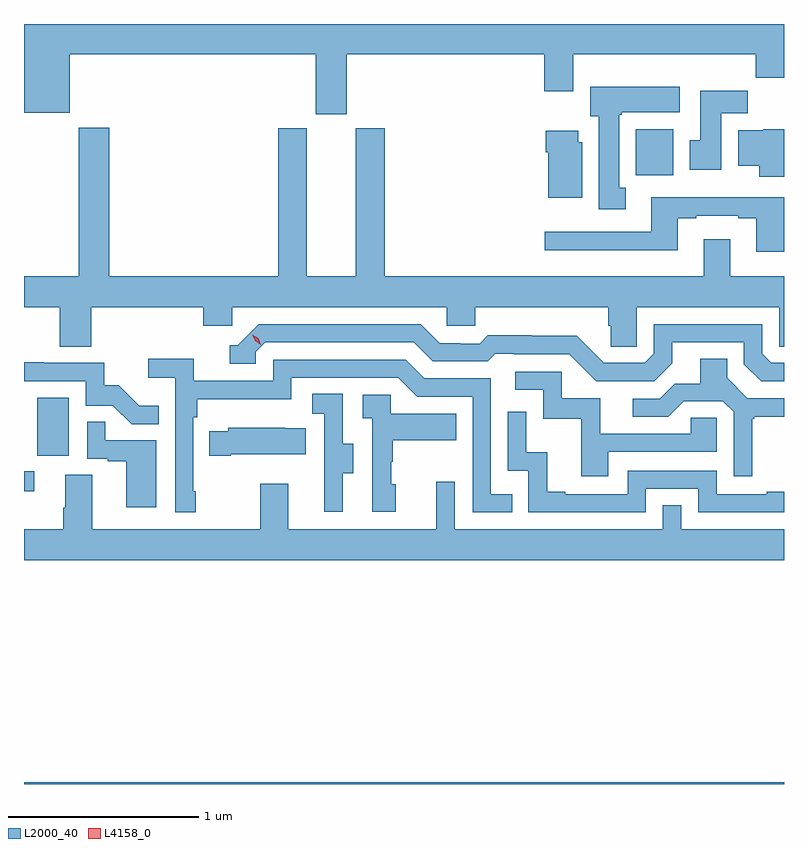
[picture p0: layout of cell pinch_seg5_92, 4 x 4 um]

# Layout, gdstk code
import gdstk
lib = gdstk.Library(unit=1e-6, precision=1e-09)
def R(c, l, rs):  # rectangles x0, y0, x1, y1
    for r in rs: c.add(gdstk.rectangle(r[:2], r[2:], *l))
def P(c, l, *ps):  # polygons
    for p in ps: c.add(gdstk.Polygon(p, *l))
L2000_40 = (2000, 40)
L4158_0 = (4158, 0)

pinch_seg5_92 = lib.new_cell('pinch_seg5_92')
R(pinch_seg5_92, L2000_40, [(1040.817,895.543,1044.817,895.552), (1040.817,897.084,1040.872,897.189), (1040.888,897.27,1041.052,897.577), (1044.038,898.748,1044.235,898.99)])
P(pinch_seg5_92, L2000_40, [(1042.516,899.384),(1043.555,899.384),(1043.555,899.19),(1043.707,899.19),(1043.707,899.384),(1044.667,899.384),(1044.667,899.26),(1044.817,899.26),(1044.817,899.543),(1040.817,899.543),(1040.817,899.075),(1041.058,899.075),(1041.058,899.384),(1042.352,899.384),(1042.352,899.067),(1042.516,899.067)],
  [(1043.983,898.682),(1043.95,898.682),(1043.95,899.065),(1043.964,899.065),(1043.964,899.078),(1044.268,899.078),(1044.268,899.212),(1043.798,899.212),(1043.798,899.058),(1043.843,899.058),(1043.843,898.569),(1043.983,898.569)],
  [(1044.487,899.072),(1044.626,899.072),(1044.626,899.191),(1044.377,899.191),(1044.377,898.932),(1044.32,898.932),(1044.32,898.776),(1044.487,898.776)],
  [(1044.817,898.99),(1044.708,898.99),(1044.708,898.984),(1044.575,898.984),(1044.575,898.796),(1044.686,898.796),(1044.686,898.739),(1044.817,898.739)],
  [(1043.755,898.92),(1043.734,898.92),(1043.734,898.981),(1043.564,898.981),(1043.564,898.868),(1043.576,898.868),(1043.576,898.628),(1043.755,898.628)],
  [(1044.817,898.63),(1044.119,898.63),(1044.119,898.449),(1043.559,898.449),(1043.559,898.352),(1044.259,898.352),(1044.259,898.521),(1044.355,898.521),(1044.355,898.533),(1044.575,898.533),(1044.575,898.521),(1044.671,898.521),(1044.671,898.344),(1044.817,898.344)],
  [(1044.535,898.411),(1044.395,898.411),(1044.395,898.216),(1042.715,898.216),(1042.715,898.995),(1042.562,898.995),(1042.562,898.216),(1042.306,898.216),(1042.306,898.995),(1042.154,898.995),(1042.154,898.216),(1041.266,898.216),(1041.266,898.996),(1041.106,898.996),(1041.106,898.216),(1040.817,898.216),(1040.817,898.052),(1041.005,898.052),(1041.005,897.844),(1041.17,897.844),(1041.17,898.052),(1041.761,898.052),(1041.761,897.954),(1041.912,897.954),(1041.912,898.052),(1043.043,898.052),(1043.043,897.954),(1043.193,897.954),(1043.193,898.052),(1043.891,898.052),(1043.891,897.954),(1043.905,897.954),(1043.905,897.844),(1044.042,897.844),(1044.042,898.052),(1044.792,898.052),(1044.792,897.844),(1044.817,897.844),(1044.817,898.216),(1044.535,898.216)],
  [(1044.229,897.757),(1044.229,897.867),(1044.606,897.867),(1044.606,897.753),(1044.696,897.663),(1044.817,897.663),(1044.817,897.759),(1044.75,897.759),(1044.702,897.807),(1044.702,897.963),(1044.132,897.963),(1044.132,897.807),(1044.084,897.759),(1043.868,897.759),(1043.726,897.901),(1043.49,897.901),(1043.49,897.904),(1043.257,897.904),(1043.215,897.861),(1043.112,897.861),(1043.112,897.864),(1043.005,897.864),(1042.906,897.963),(1042.053,897.963),(1041.942,897.852),(1041.899,897.852),(1041.899,897.756),(1042.038,897.756),(1042.038,897.819),(1042.086,897.867),(1042.869,897.867),(1042.968,897.768),(1043.257,897.768),(1043.296,897.807),(1043.395,897.807),(1043.395,897.804),(1043.688,897.804),(1043.829,897.663),(1044.135,897.663)],
  [(1041.721,897.085),(1041.708,897.085),(1041.708,897.473),(1041.728,897.473),(1041.728,897.569),(1042.224,897.569),(1042.224,897.681),(1042.788,897.681),(1042.887,897.582),(1043.178,897.582),(1043.178,896.973),(1043.387,896.973),(1043.387,897.069),(1043.274,897.069),(1043.274,897.678),(1042.924,897.678),(1042.825,897.777),(1042.128,897.777),(1042.128,897.666),(1041.71,897.666),(1041.71,897.782),(1041.471,897.782),(1041.471,897.68),(1041.612,897.68),(1041.612,896.973),(1041.721,896.973)],
  [(1044.649,897.465),(1044.661,897.465),(1044.661,897.476),(1044.817,897.476),(1044.817,897.573),(1044.624,897.573),(1044.517,897.68),(1044.517,897.782),(1044.377,897.782),(1044.377,897.65),(1044.242,897.65),(1044.162,897.57),(1044.021,897.57),(1044.021,897.477),(1044.208,897.477),(1044.289,897.558),(1044.495,897.558),(1044.552,897.501),(1044.552,897.162),(1044.649,897.162)],
  [(1041.527,897.535),(1041.423,897.535),(1041.316,897.642),(1041.24,897.642),(1041.24,897.759),(1040.921,897.759),(1040.921,897.764),(1040.817,897.764),(1040.817,897.663),(1041.141,897.663),(1041.141,897.534),(1041.285,897.534),(1041.383,897.436),(1041.527,897.436)],
  [(1043.893,897.291),(1044.462,897.291),(1044.462,897.471),(1044.325,897.471),(1044.325,897.387),(1043.851,897.387),(1043.851,897.573),(1043.646,897.573),(1043.646,897.714),(1043.403,897.714),(1043.403,897.618),(1043.55,897.618),(1043.55,897.465),(1043.749,897.465),(1043.749,897.162),(1043.893,897.162)],
  [(1042.495,897.178),(1042.549,897.178),(1042.549,897.333),(1042.494,897.333),(1042.494,897.596),(1042.335,897.596),(1042.335,897.493),(1042.398,897.493),(1042.398,897.189),(1042.397,897.189),(1042.397,896.976),(1042.495,896.976)],
  [(1042.774,897.12),(1042.749,897.12),(1042.749,897.239),(1042.759,897.239),(1042.759,897.353),(1043.093,897.353),(1043.093,897.493),(1042.746,897.493),(1042.746,897.591),(1042.599,897.591),(1042.599,897.467),(1042.65,897.467),(1042.65,896.976),(1042.774,896.976)],
  [(1044.09,897.096),(1044.366,897.096),(1044.366,896.973),(1044.817,896.973),(1044.817,897.082),(1044.725,897.082),(1044.725,897.069),(1044.462,897.069),(1044.462,897.192),(1043.994,897.192),(1043.994,897.069),(1043.665,897.069),(1043.665,897.082),(1043.57,897.082),(1043.57,897.29),(1043.46,897.29),(1043.46,897.502),(1043.364,897.502),(1043.364,897.192),(1043.472,897.192),(1043.472,896.973),(1044.09,896.973)],
  [(1041.514,897.351),(1041.245,897.351),(1041.245,897.449),(1041.15,897.449),(1041.15,897.255),(1041.257,897.255),(1041.257,897.243),(1041.356,897.243),(1041.356,897),(1041.514,897)],
  [(1041.904,897.278),(1042.301,897.278),(1042.301,897.415),(1042.193,897.415),(1042.193,897.418),(1041.891,897.418),(1041.891,897.4),(1041.793,897.4),(1041.793,897.271),(1041.904,897.271)],
  [(1044.817,896.884),(1044.276,896.884),(1044.276,897.011),(1044.18,897.011),(1044.18,896.884),(1043.085,896.884),(1043.085,897.133),(1042.988,897.133),(1042.988,896.884),(1042.207,896.884),(1042.207,897.124),(1042.06,897.124),(1042.06,896.884),(1041.175,896.884),(1041.175,897.17),(1041.035,897.17),(1041.035,896.996),(1041.023,896.996),(1041.023,896.884),(1040.817,896.884),(1040.817,896.72),(1044.817,896.72)])
P(pinch_seg5_92, L4158_0, [(1042.064,897.854),(1042.034,897.875),(1042.018,897.908),(1042.018,897.908),(1042.018,897.908),(1042.049,897.888),(1042.064,897.855),(1042.064,897.854)])

lib.write_gds('pinch_seg5_92.gds')
